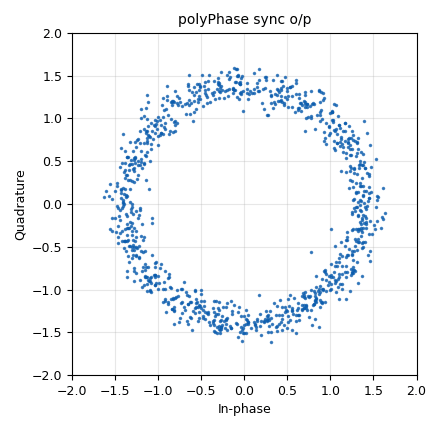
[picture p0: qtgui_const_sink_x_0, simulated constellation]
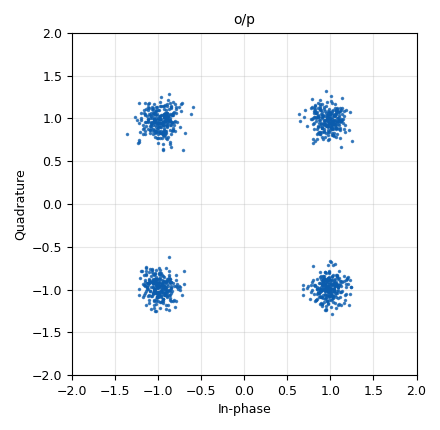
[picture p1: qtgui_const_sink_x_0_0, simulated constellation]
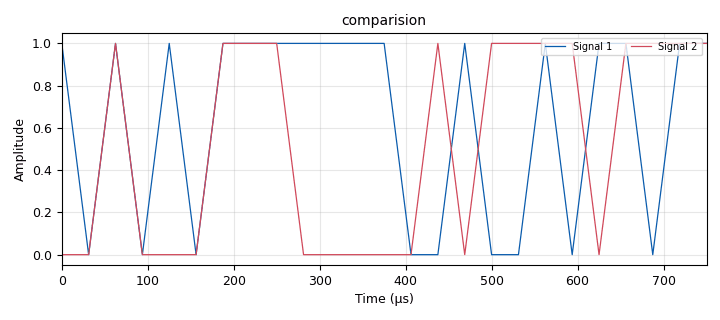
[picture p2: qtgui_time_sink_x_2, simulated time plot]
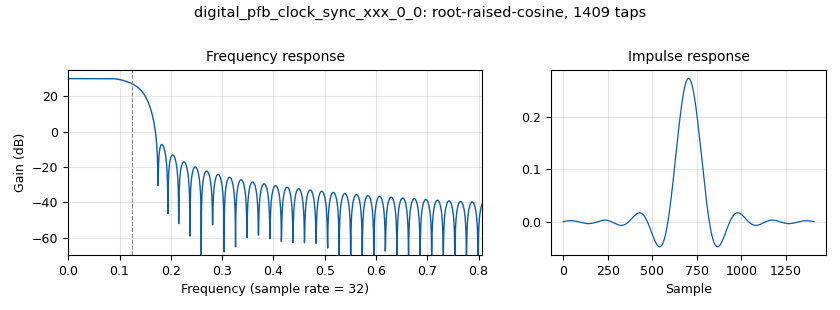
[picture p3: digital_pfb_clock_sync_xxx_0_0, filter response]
options:
  parameters:
    generate_options: qt_gui
    id: Qpsk_stage1_modulator
    output_language: python
    title: Qpsk_stage1_modulator
  states: {}

blocks:
- name: delay
  id: variable_qtgui_range
  parameters:
    start: '0'
    step: '1'
    stop: '100'
    value: '10'
  states: {}
- name: excess_bw
  id: variable
  parameters:
    value: '350e-3'
  states: {}
- name: freq_offset
  id: variable_qtgui_range
  parameters:
    start: '-100e-3'
    step: '1e-3'
    stop: '100e-3'
    value: '25e-3'
  states: {}
- name: nfilts
  id: variable
  parameters:
    value: '32'
  states: {}
- name: phase_bw
  id: variable
  parameters:
    value: (2*numpy.pi)/100
  states: {}
- name: qpsk
  id: variable_constellation_rect
  parameters:
    const_points: '[-1-1j, -1+1j, 1+1j, 1-1j]'
    imag_sect: '2'
    real_sect: '2'
    rot_sym: '4'
    sym_map: '[0, 1, 3, 2]'
    w_imag_sect: '1'
    w_real_sect: '1'
  states: {}
- name: rrc_taps
  id: variable
  parameters:
    value: firdes.root_raised_cosine(1.0,samp_rate,samp_rate/sps,excess_bw,11*sps)
  states: {}
- name: rrc_taps2
  id: variable
  parameters:
    value: firdes.root_raised_cosine(nfilts, nfilts, 1.0/float(sps), 0.35, 11*sps*nfilts)
  states: {}
- name: samp_rate
  id: variable
  parameters:
    value: '32000'
  states: {}
- name: sps
  id: variable
  parameters:
    value: '4'
  states: {}
- name: thermal_noise
  id: variable_qtgui_range
  parameters:
    start: '0'
    step: '10e-3'
    stop: '1'
    value: '200e-3'
  states: {}
- name: timing_offset
  id: variable_qtgui_range
  parameters:
    start: '-999e-3'
    step: '100e-6'
    stop: '1.001'
    value: '1.0005'
  states: {}
- name: variable_adaptive_algorithm_0
  id: variable_adaptive_algorithm
  parameters:
    cons: qpsk
    modulus: '2'
    step_size: '.0001'
    type: cma
  states: {}
- name: analog_random_source_x_0
  id: analog_random_source_x
  parameters:
    max: '256'
    min: '0'
    num_samps: '10000'
    repeat: 'True'
    type: byte
  states: {}
- name: blocks_char_to_float_0
  id: blocks_char_to_float
  parameters:
    scale: '1'
  states: {}
- name: blocks_char_to_float_1
  id: blocks_char_to_float
  parameters:
    scale: '1'
  states: {}
- name: blocks_delay_0
  id: blocks_delay
  parameters:
    delay: delay
    type: float
  states: {}
- name: blocks_throttle2_0
  id: blocks_throttle2
  parameters:
    samples_per_second: samp_rate
    type: complex
  states: {}
- name: blocks_uchar_to_float_0
  id: blocks_uchar_to_float
  parameters: {}
  states: {state: disabled}
- name: blocks_unpack_k_bits_bb_0
  id: blocks_unpack_k_bits_bb
  parameters:
    k: '8'
  states: {}
- name: blocks_unpack_k_bits_bb_1
  id: blocks_unpack_k_bits_bb
  parameters:
    k: '2'
  states: {}
- name: channels_channel_model_0
  id: channels_channel_model
  parameters:
    comment: epsilon is timing offset
    epsilon: timing_offset
    freq_offset: freq_offset
    noise_voltage: thermal_noise
    seed: '0'
    taps: '1.0'
  states: {}
- name: digital_constellation_decoder_cb_0
  id: digital_constellation_decoder_cb
  parameters:
    constellation: qpsk
  states: {}
- name: digital_constellation_modulator_0
  id: digital_constellation_modulator
  parameters:
    constellation: qpsk
    differential: 'True'
    excess_bw: excess_bw
    samples_per_symbol: sps
  states: {}
- name: digital_costas_loop_cc_0
  id: digital_costas_loop_cc
  parameters:
    order: '4'
    w: phase_bw
  states: {}
- name: digital_diff_decoder_bb_0
  id: digital_diff_decoder_bb
  parameters:
    coding: digital.DIFF_DIFFERENTIAL
    modulus: '4'
  states: {}
- name: digital_linear_equalizer_1
  id: digital_linear_equalizer
  parameters:
    alg: variable_adaptive_algorithm_0
    num_taps: '15'
    sps: '2'
  states: {}
- name: digital_map_bb_0
  id: digital_map_bb
  parameters:
    map: '[0, 1, 2, 3]'
  states: {}
- name: digital_pfb_clock_sync_xxx_0_0
  id: digital_pfb_clock_sync_xxx
  parameters:
    filter_size: '32'
    init_phase: '16'
    loop_bw: phase_bw
    max_dev: '1.5'
    osps: '2'
    sps: sps
    taps: rrc_taps2
    type: ccf
  states: {}
- name: import_0
  id: import
  parameters:
    imports: import numpy
  states: {}
- name: qtgui_const_sink_x_0
  id: qtgui_const_sink_x
  parameters:
    name: '"polyPhase sync o/p"'
    size: '1024'
    type: complex
  states: {}
- name: qtgui_const_sink_x_0_0
  id: qtgui_const_sink_x
  parameters:
    name: '" o/p"'
    size: '1024'
    type: complex
  states: {}
- name: qtgui_freq_sink_x_0
  id: qtgui_freq_sink_x
  parameters:
    average: '0.2'
    bw: samp_rate
    fc: '0'
    fftsize: '1024'
    nconnections: '2'
    type: complex
  states: {state: disabled}
- name: qtgui_time_sink_x_0
  id: qtgui_time_sink_x
  parameters:
    size: '1200'
    srate: samp_rate
    type: complex
  states: {state: disabled}
- name: qtgui_time_sink_x_1
  id: qtgui_time_sink_x
  parameters:
    size: '1024'
    srate: samp_rate
    type: float
  states: {state: disabled}
- name: qtgui_time_sink_x_2
  id: qtgui_time_sink_x
  parameters:
    autoscale: 'True'
    grid: 'True'
    name: '"comparision"'
    nconnections: '2'
    size: '25'
    srate: samp_rate
    type: float
    update_time: '25'
  states: {}
- name: virtual_sink_0
  id: virtual_sink
  parameters:
    stream_id: r1
  states: {}
- name: virtual_sink_1
  id: virtual_sink
  parameters:
    stream_id: r2
  states: {}
- name: virtual_sink_1_0
  id: virtual_sink
  parameters:
    stream_id: t1
  states: {}
- name: virtual_source_0
  id: virtual_source
  parameters:
    stream_id: r1
  states: {}
- name: virtual_source_0_0
  id: virtual_source
  parameters:
    stream_id: t1
  states: {}
- name: virtual_source_0_1
  id: virtual_source
  parameters:
    stream_id: r2
  states: {}
- name: virtual_source_1
  id: virtual_source
  parameters:
    stream_id: r2
  states: {state: disabled}

connections:
- [analog_random_source_x_0, '0', digital_constellation_modulator_0, '0']
- [analog_random_source_x_0, '0', virtual_sink_1_0, '0']
- [blocks_char_to_float_0, '0', blocks_delay_0, '0']
- [blocks_char_to_float_1, '0', qtgui_time_sink_x_2, '1']
- [blocks_delay_0, '0', qtgui_time_sink_x_2, '0']
- [blocks_throttle2_0, '0', channels_channel_model_0, '0']
- [blocks_uchar_to_float_0, '0', qtgui_time_sink_x_1, '0']
- [blocks_unpack_k_bits_bb_0, '0', blocks_char_to_float_0, '0']
- [blocks_unpack_k_bits_bb_1, '0', blocks_char_to_float_1, '0']
- [channels_channel_model_0, '0', digital_pfb_clock_sync_xxx_0_0, '0']
- [digital_constellation_decoder_cb_0, '0', digital_diff_decoder_bb_0, '0']
- [digital_constellation_modulator_0, '0', blocks_throttle2_0, '0']
- [digital_costas_loop_cc_0, '0', digital_constellation_decoder_cb_0, '0']
- [digital_costas_loop_cc_0, '0', qtgui_const_sink_x_0_0, '0']
- [digital_diff_decoder_bb_0, '0', digital_map_bb_0, '0']
- [digital_linear_equalizer_1, '0', qtgui_const_sink_x_0, '0']
- [digital_linear_equalizer_1, '0', qtgui_time_sink_x_0, '0']
- [digital_linear_equalizer_1, '0', virtual_sink_0, '0']
- [digital_map_bb_0, '0', blocks_uchar_to_float_0, '0']
- [digital_map_bb_0, '0', virtual_sink_1, '0']
- [digital_pfb_clock_sync_xxx_0_0, '0', digital_linear_equalizer_1, '0']
- [digital_pfb_clock_sync_xxx_0_0, '0', qtgui_freq_sink_x_0, '0']
- [digital_pfb_clock_sync_xxx_0_0, '0', qtgui_freq_sink_x_0, '1']
- [virtual_source_0, '0', digital_costas_loop_cc_0, '0']
- [virtual_source_0_0, '0', blocks_unpack_k_bits_bb_0, '0']
- [virtual_source_0_1, '0', blocks_unpack_k_bits_bb_1, '0']

metadata:
  file_format: 1
  grc_version: 3.10.11.0
